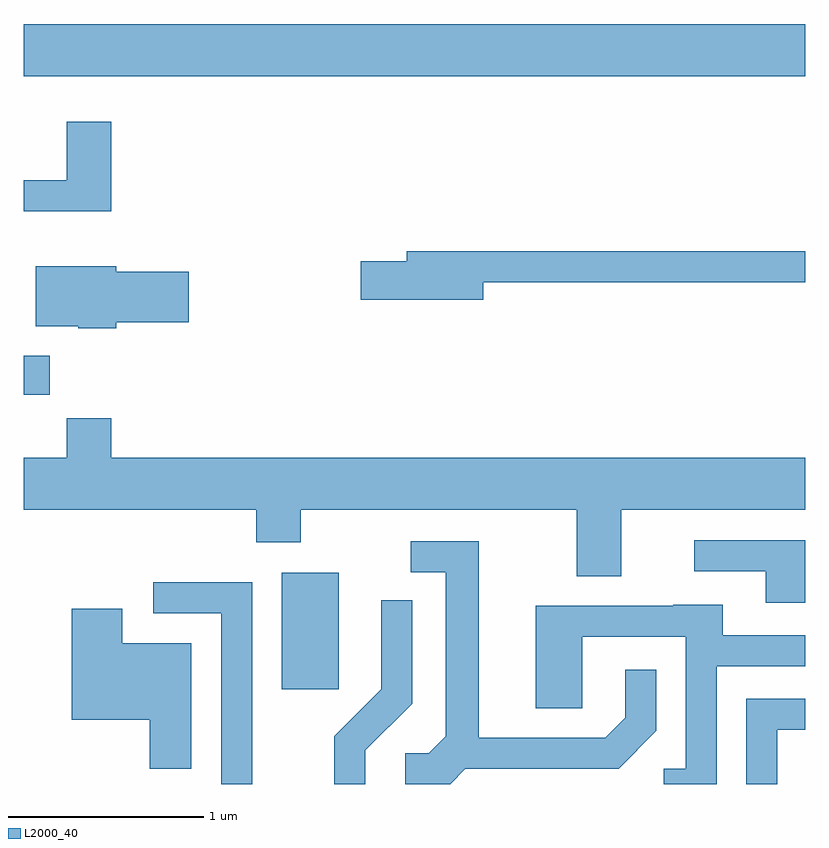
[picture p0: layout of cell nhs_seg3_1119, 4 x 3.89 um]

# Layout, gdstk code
import gdstk
lib = gdstk.Library(unit=1e-6, precision=1e-09)
def R(c, l, rs):  # rectangles x0, y0, x1, y1
    for r in rs: c.add(gdstk.rectangle(r[:2], r[2:], *l))
def P(c, l, *ps):  # polygons
    for p in ps: c.add(gdstk.Polygon(p, *l))
L2000_40 = (2000, 40)

nhs_seg3_1119 = lib.new_cell('nhs_seg3_1119')
R(nhs_seg3_1119, L2000_40, [(218.931,1178.376,219.224,1178.974), (217.611,1179.886,217.744,1180.084), (217.611,1181.516,221.611,1181.784)])
P(nhs_seg3_1119, L2000_40, [(218.059,1181.284),(217.831,1181.284),(217.831,1180.984),(217.611,1180.984),(217.611,1180.826),(218.059,1180.826)],
  [(219.964,1180.461),(221.611,1180.461),(221.611,1180.619),(219.571,1180.619),(219.571,1180.569),(219.336,1180.569),(219.336,1180.371),(219.964,1180.371)],
  [(218.084,1180.256),(218.454,1180.256),(218.454,1180.514),(218.084,1180.514),(218.084,1180.544),(217.671,1180.544),(217.671,1180.236),(217.89,1180.236),(217.89,1180.226),(218.084,1180.226)],
  [(220.669,1179.296),(221.611,1179.296),(221.611,1179.564),(218.059,1179.564),(218.059,1179.764),(217.831,1179.764),(217.831,1179.564),(217.611,1179.564),(217.611,1179.296),(218.801,1179.296),(218.801,1179.131),(219.029,1179.131),(219.029,1179.296),(220.441,1179.296),(220.441,1178.956),(220.669,1178.956)],
  [(221.611,1179.139),(221.043,1179.139),(221.043,1178.981),(221.411,1178.981),(221.411,1178.821),(221.611,1178.821)],
  [(219.872,1177.971),(220.657,1177.971),(220.849,1178.164),(220.849,1178.478),(220.691,1178.478),(220.691,1178.232),(220.589,1178.129),(219.939,1178.129),(219.939,1179.134),(219.593,1179.134),(219.593,1178.976),(219.771,1178.976),(219.771,1178.137),(219.684,1178.049),(219.563,1178.049),(219.563,1177.892),(219.793,1177.892)],
  [(218.779,1178.924),(218.273,1178.924),(218.273,1178.766),(218.621,1178.766),(218.621,1177.892),(218.779,1177.892)],
  [(219.359,1178.064),(219.599,1178.304),(219.599,1178.833),(219.441,1178.833),(219.441,1178.377),(219.201,1178.137),(219.201,1177.892),(219.359,1177.892)],
  [(221.159,1178.496),(221.611,1178.496),(221.611,1178.654),(221.189,1178.654),(221.189,1178.809),(220.935,1178.809),(220.935,1178.804),(220.231,1178.804),(220.231,1178.281),(220.469,1178.281),(220.469,1178.646),(221.001,1178.646),(221.001,1177.969),(220.888,1177.969),(220.888,1177.892),(221.159,1177.892)],
  [(218.469,1178.614),(218.114,1178.614),(218.114,1178.789),(217.856,1178.789),(217.856,1178.221),(218.256,1178.221),(218.256,1177.971),(218.469,1177.971)],
  [(221.469,1178.171),(221.611,1178.171),(221.611,1178.329),(221.311,1178.329),(221.311,1177.892),(221.469,1177.892)])

lib.write_gds('nhs_seg3_1119.gds')
